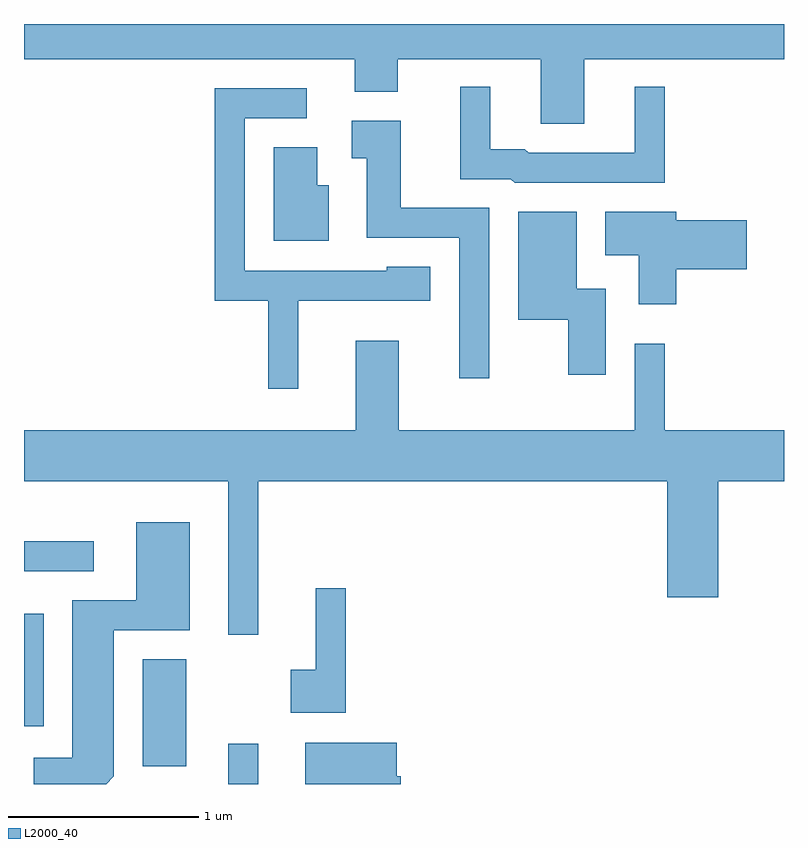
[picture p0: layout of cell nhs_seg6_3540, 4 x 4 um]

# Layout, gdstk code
import gdstk
lib = gdstk.Library(unit=1e-6, precision=1e-09)
def R(c, l, rs):  # rectangles x0, y0, x1, y1
    for r in rs: c.add(gdstk.rectangle(r[:2], r[2:], *l))
def P(c, l, *ps):  # polygons
    for p in ps: c.add(gdstk.Polygon(p, *l))
L2000_40 = (2000, 40)

nhs_seg6_3540 = lib.new_cell('nhs_seg6_3540')
R(nhs_seg6_3540, L2000_40, [(292.686,1606.162,292.844,1606.373), (292.236,1606.256,292.464,1606.819), (291.611,1606.466,291.714,1607.059), (291.611,1607.281,291.978,1607.439)])
P(nhs_seg6_3540, L2000_40, [(294.559,1609.976),(295.611,1609.976),(295.611,1610.162),(291.611,1610.162),(291.611,1609.976),(293.351,1609.976),(293.351,1609.806),(293.579,1609.806),(293.579,1609.976),(294.331,1609.976),(294.331,1609.636),(294.559,1609.636)],
  [(294.984,1609.833),(294.826,1609.833),(294.826,1609.484),(294.267,1609.484),(294.247,1609.504),(294.064,1609.504),(294.064,1609.833),(293.906,1609.833),(293.906,1609.346),(294.174,1609.346),(294.194,1609.326),(294.984,1609.326)],
  [(293.054,1608.706),(293.749,1608.706),(293.749,1608.884),(293.521,1608.884),(293.521,1608.864),(292.774,1608.864),(292.774,1609.666),(293.098,1609.666),(293.098,1609.824),(292.616,1609.824),(292.616,1608.706),(292.896,1608.706),(292.896,1608.243),(293.054,1608.243)],
  [(294.059,1609.194),(293.594,1609.194),(293.594,1609.654),(293.336,1609.654),(293.336,1609.456),(293.416,1609.456),(293.416,1609.036),(293.901,1609.036),(293.901,1608.298),(294.059,1608.298)],
  [(293.214,1609.314),(293.154,1609.314),(293.154,1609.514),(292.926,1609.514),(292.926,1609.021),(293.214,1609.021)],
  [(294.674,1608.769),(294.519,1608.769),(294.519,1609.174),(294.211,1609.174),(294.211,1608.606),(294.476,1608.606),(294.476,1608.316),(294.674,1608.316)],
  [(295.044,1608.871),(295.414,1608.871),(295.414,1609.129),(295.044,1609.129),(295.044,1609.174),(294.671,1609.174),(294.671,1608.946),(294.846,1608.946),(294.846,1608.686),(295.044,1608.686)],
  [(292.844,1607.756),(294.996,1607.756),(294.996,1607.146),(295.264,1607.146),(295.264,1607.756),(295.611,1607.756),(295.611,1608.024),(294.984,1608.024),(294.984,1608.478),(294.826,1608.478),(294.826,1608.024),(293.584,1608.024),(293.584,1608.494),(293.356,1608.494),(293.356,1608.024),(291.611,1608.024),(291.611,1607.756),(292.686,1607.756),(292.686,1606.948),(292.844,1606.948)],
  [(292.084,1606.202),(292.084,1606.971),(292.484,1606.971),(292.484,1607.539),(292.201,1607.539),(292.201,1607.129),(291.866,1607.129),(291.866,1606.299),(291.663,1606.299),(291.663,1606.162),(292.045,1606.162)],
  [(293.304,1607.193),(293.146,1607.193),(293.146,1606.764),(293.016,1606.764),(293.016,1606.536),(293.304,1606.536)],
  [(293.594,1606.204),(293.574,1606.204),(293.574,1606.379),(293.091,1606.379),(293.091,1606.162),(293.594,1606.162)])

lib.write_gds('nhs_seg6_3540.gds')
